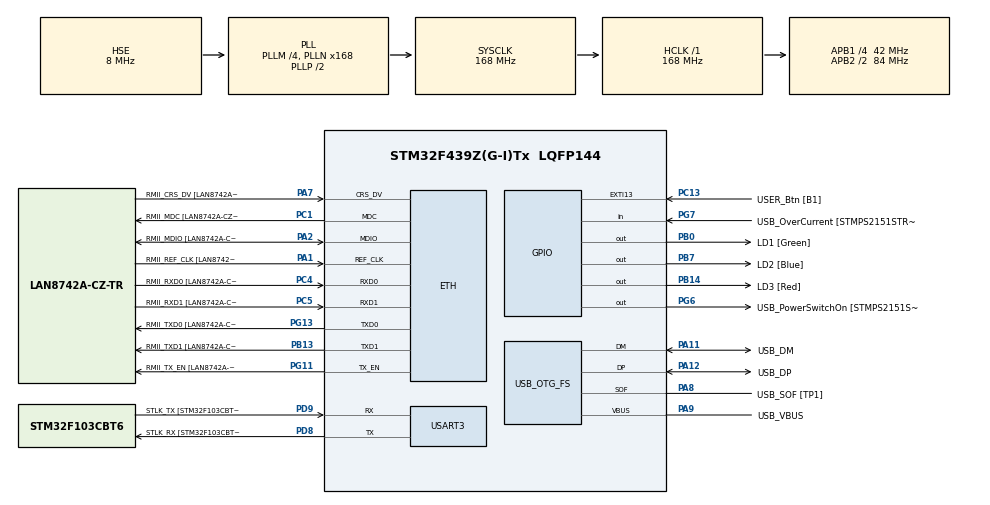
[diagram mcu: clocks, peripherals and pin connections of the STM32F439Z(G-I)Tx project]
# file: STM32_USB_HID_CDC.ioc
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ETH.MediaInterface=HAL_ETH_RMII_MODE
ETH.PHY_Name=LAN8742A_PHY_ADDRESS
ETH.PHY_Value=0
ETH.PhyAddress=0
Mcu.Family=STM32F4
Mcu.Name=STM32F439Z(G-I)Tx
Mcu.Package=LQFP144
NVIC.OTG_FS_IRQn=true\:0\:0\:false\:false\:true\:false\:true\:true
NVIC.PriorityGroup=NVIC_PRIORITYGROUP_4
PA1.GPIO_Label=RMII_REF_CLK [LAN8742A-CZ-TR_REFCLK0]
PA1.Mode=RMII
PA1.Signal=ETH_REF_CLK
PA10.GPIO_Label=USB_ID
PA10.Signal=USB_OTG_FS_ID
PA11.GPIO_Label=USB_DM
PA11.Mode=Device_Only
PA11.Signal=USB_OTG_FS_DM
PA12.GPIO_Label=USB_DP
PA12.Mode=Device_Only
PA12.Signal=USB_OTG_FS_DP
PA13.GPIO_Label=TMS
PA13.Mode=Serial_Wire
PA13.Signal=SYS_JTMS-SWDIO
PA14.GPIO_Label=TCK
PA14.Mode=Serial_Wire
PA14.Signal=SYS_JTCK-SWCLK
PA2.GPIO_Label=RMII_MDIO [LAN8742A-CZ-TR_MDIO]
PA2.Mode=RMII
PA2.Signal=ETH_MDIO
PA7.GPIO_Label=RMII_CRS_DV [LAN8742A-CZ-TR_CRS_DV]
PA7.Mode=RMII
PA7.Signal=ETH_CRS_DV
PA8.GPIO_Label=USB_SOF [TP1]
PA8.Mode=Activate_SOF_FS
PA8.Signal=USB_OTG_FS_SOF
PA9.GPIO_Label=USB_VBUS
PA9.Mode=Activate_VBUS
PA9.Signal=USB_OTG_FS_VBUS
PB0.GPIO_Label=LD1 [Green]
PB0.Signal=GPIO_Output
PB13.GPIO_Label=RMII_TXD1 [LAN8742A-CZ-TR_TXD1]
PB13.Mode=RMII
PB13.Signal=ETH_TXD1
PB14.GPIO_Label=LD3 [Red]
PB14.Signal=GPIO_Output
PB7.GPIO_Label=LD2 [Blue]
PB7.Signal=GPIO_Output
PC1.GPIO_Label=RMII_MDC [LAN8742A-CZ-TR_MDC]
PC1.Mode=RMII
PC1.Signal=ETH_MDC
PC13.GPIO_Label=USER_Btn [B1]
PC13.Signal=GPXTI13
PC14/OSC32_IN.Mode=LSE-External-Oscillator
PC14/OSC32_IN.Signal=RCC_OSC32_IN
PC15/OSC32_OUT.Mode=LSE-External-Oscillator
PC15/OSC32_OUT.Signal=RCC_OSC32_OUT
PC4.GPIO_Label=RMII_RXD0 [LAN8742A-CZ-TR_RXD0]
PC4.Mode=RMII
PC4.Signal=ETH_RXD0
PC5.GPIO_Label=RMII_RXD1 [LAN8742A-CZ-TR_RXD1]
PC5.Mode=RMII
PC5.Signal=ETH_RXD1
PD8.GPIO_Label=STLK_RX [STM32F103CBT6_PA3]
PD8.Mode=Asynchronous
PD8.Signal=USART3_TX
PD9.GPIO_Label=STLK_TX [STM32F103CBT6_PA2]
PD9.Mode=Asynchronous
PD9.Signal=USART3_RX
PG11.GPIO_Label=RMII_TX_EN [LAN8742A-CZ-TR_TXEN]
PG11.Mode=RMII
PG11.Signal=ETH_TX_EN
PG13.GPIO_Label=RMII_TXD0 [LAN8742A-CZ-TR_TXD0]
PG13.Mode=RMII
PG13.Signal=ETH_TXD0
PG6.GPIO_Label=USB_PowerSwitchOn [STMPS2151STR_EN]
PG6.Signal=GPIO_Output
PG7.GPIO_Label=USB_OverCurrent [STMPS2151STR_FAULT]
PG7.Signal=GPIO_Input
PH0/OSC_IN.GPIO_Label=MCO [STM32F103CBT6_PA8]
PH0/OSC_IN.Mode=HSE-External-Clock-Source
PH0/OSC_IN.Signal=RCC_OSC_IN
PH1/OSC_OUT.Mode=HSE-External-Clock-Source
PH1/OSC_OUT.Signal=RCC_OSC_OUT
ProjectManager.HeapSize=0x800
ProjectManager.StackSize=0x800
ProjectManager.TargetToolchain=STM32CubeIDE
RCC.48MHZClocksFreq_Value=48000000
RCC.AHBFreq_Value=168000000
RCC.APB1CLKDivider=RCC_HCLK_DIV4
RCC.APB1Freq_Value=42000000
RCC.APB1TimFreq_Value=84000000
RCC.APB2CLKDivider=RCC_HCLK_DIV2
RCC.APB2Freq_Value=84000000
RCC.APB2TimCLKDivider=2
RCC.APB2TimFreq_Value=168000000
RCC.CortexFreq_Value=168000000
RCC.HCLKFreq_Value=168000000
RCC.HSE_VALUE=8000000
RCC.HSI_VALUE=16000000
RCC.PLLM=4
RCC.PLLMUL=RCC_PLL_MUL9
RCC.PLLN=168
RCC.PLLQ=7
RCC.PRESCALERUSB=RCC_USBCLKSOURCE_PLL_DIV1_5
RCC.SYSCLKFreq_VALUE=168000000
RCC.SYSCLKSource=RCC_SYSCLKSOURCE_PLLCLK
RCC.SYSCLKSourceVirtual=RCC_SYSCLKSOURCE_PLLCLK
RCC.USBFreq_Value=48000000
RCC.VCOOutputFreq_Value=336000000
USART3.VirtualMode=VM_ASYNC
USB_DEVICE.CLASS_NAME_FS=CDC
USB_DEVICE.VirtualMode-CDC_FS=Cdc
USB_DEVICE.VirtualModeFS=Cdc_FS
USB_OTG_FS.VirtualMode=Device_Only
VP_USB_DEVICE_VS_USB_DEVICE_CDC_FS.Mode=CDC_FS
board=NUCLEO-F439ZI

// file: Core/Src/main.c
/* USER CODE BEGIN Header */
/**
  ******************************************************************************
  * @file           : main.c
  * @brief          : Main program body
  ******************************************************************************
  * @attention
  *
  * Copyright (c) 2026 STMicroelectronics.
  * All rights reserved.
  *
  * This software is licensed under terms that can be found in the LICENSE file
  * in the root directory of this software component.
  * If no LICENSE file comes with this software, it is provided AS-IS.
  *
  ******************************************************************************
  */
/* USER CODE END Header */
#include "main.h"
#include "string.h"
#include "stdio.h"
#include "usb_device.h"
#include "usbd_cdc_if.h"
#include "keyboard_helper.h"
#include "lcd_i2c.h"

ETH_TxPacketConfig TxConfig;
ETH_DMADescTypeDef  DMARxDscrTab[ETH_RX_DESC_CNT]; /* Ethernet Rx DMA Descriptors */
ETH_DMADescTypeDef  DMATxDscrTab[ETH_TX_DESC_CNT]; /* Ethernet Tx DMA Descriptors */

ETH_HandleTypeDef heth;

UART_HandleTypeDef huart3;

/* USER CODE BEGIN PV */
extern USBD_HandleTypeDef hUsbDeviceFS;
/* USER CODE END PV */

void SystemClock_Config(void);
static void MX_GPIO_Init(void);
static void MX_ETH_Init(void);
static void MX_USART3_UART_Init(void);

int main(void)
{

  /* MCU Configuration--------------------------------------------------------*/

  /* Reset of all peripherals, Initializes the Flash interface and the Systick. */
  HAL_Init();

  /* Configure the system clock */
  SystemClock_Config();

  /* Initialize all configured peripherals */
  MX_GPIO_Init();
  MX_ETH_Init();
  MX_USART3_UART_Init();
  MX_USB_DEVICE_Init();
  /* USER CODE BEGIN 2 */

  /* 1. I2C LCD Ekrani Baslat (PB8=SCL, PB9=SDA) */
  LCD_Init();
  LCD_SetCursor(0, 0);
  LCD_Print("STM32 RAM");
  LCD_SetCursor(1, 0);
  LCD_Print("USB Bekleniyor..");

  /* 2. USB baglantisi ve suruculerin Windows tarafindan taninmasi icin bekle */
  HAL_Delay(3000);

  /* 3. LED1 (Yesil) Yak: USB Hazir */
  HAL_GPIO_WritePin(LD1_GPIO_Port, LD1_Pin, GPIO_PIN_SET);

  /* 4. BadUSB / Keyboard Enjeksiyonu: Saf PowerShell Native RAM Servisini Baslat (Python Gerekmez) */
  LCD_SetCursor(1, 0);
  LCD_Print("PS Servis Acildi");
  Keyboard_LaunchNativeRAMMonitor();

  /* 5. LED2 (Mavi) Yak: Komut gonderildi */
  HAL_GPIO_WritePin(LD2_GPIO_Port, LD2_Pin, GPIO_PIN_SET);

  /* USER CODE END 2 */

  /* Infinite loop */
  while (1)
  {

    /* USER CODE BEGIN 3 */
    /* CDC Sanal Seri Porttan Yeni RAM Verisi Geldi mi? */
    if (g_NewRamDataFlag)
    {
      g_NewRamDataFlag = 0;

      /* Mavi LED'i yanip sondur (Veri alindi gostergesi) */
      HAL_GPIO_TogglePin(LD2_GPIO_Port, LD2_Pin);

      /* Gelen RAM ve CPU verisini LCD ekrana bas */
      LCD_DisplayRAM(g_ReceivedRamData);
    }

    HAL_Delay(10);
  }
  /* USER CODE END 3 */
}

void SystemClock_Config(void)
{
  RCC_OscInitTypeDef RCC_OscInitStruct = {0};
  RCC_ClkInitTypeDef RCC_ClkInitStruct = {0};

  /** Configure the main internal regulator output voltage
  */
  __HAL_RCC_PWR_CLK_ENABLE();
  __HAL_PWR_VOLTAGESCALING_CONFIG(PWR_REGULATOR_VOLTAGE_SCALE1);

  /** Initializes the RCC Oscillators according to the specified parameters
  * in the RCC_OscInitTypeDef structure.
  */
  RCC_OscInitStruct.OscillatorType = RCC_OSCILLATORTYPE_HSE;
  RCC_OscInitStruct.HSEState = RCC_HSE_BYPASS;
  RCC_OscInitStruct.PLL.PLLState = RCC_PLL_ON;
  RCC_OscInitStruct.PLL.PLLSource = RCC_PLLSOURCE_HSE;
  RCC_OscInitStruct.PLL.PLLM = 4;
  RCC_OscInitStruct.PLL.PLLN = 168;
  RCC_OscInitStruct.PLL.PLLP = RCC_PLLP_DIV2;
  RCC_OscInitStruct.PLL.PLLQ = 7;
  if (HAL_RCC_OscConfig(&RCC_OscInitStruct) != HAL_OK)
  {
    Error_Handler();
  }

  /** Initializes the CPU, AHB and APB buses clocks
  */
  RCC_ClkInitStruct.ClockType = RCC_CLOCKTYPE_HCLK|RCC_CLOCKTYPE_SYSCLK
                              |RCC_CLOCKTYPE_PCLK1|RCC_CLOCKTYPE_PCLK2;
  RCC_ClkInitStruct.SYSCLKSource = RCC_SYSCLKSOURCE_PLLCLK;
  RCC_ClkInitStruct.AHBCLKDivider = RCC_SYSCLK_DIV1;
  RCC_ClkInitStruct.APB1CLKDivider = RCC_HCLK_DIV4;
  RCC_ClkInitStruct.APB2CLKDivider = RCC_HCLK_DIV2;

  if (HAL_RCC_ClockConfig(&RCC_ClkInitStruct, FLASH_LATENCY_5) != HAL_OK)
  {
    Error_Handler();
  }
}

static void MX_ETH_Init(void)
{

   static uint8_t MACAddr[6];

  heth.Instance = ETH;
  MACAddr[0] = 0x00;
  MACAddr[1] = 0x80;
  MACAddr[2] = 0xE1;
  MACAddr[3] = 0x00;
  MACAddr[4] = 0x00;
  MACAddr[5] = 0x00;
  heth.Init.MACAddr = &MACAddr[0];
  heth.Init.MediaInterface = HAL_ETH_RMII_MODE;
  heth.Init.TxDesc = DMATxDscrTab;
  heth.Init.RxDesc = DMARxDscrTab;
  heth.Init.RxBuffLen = 1524;

  if (HAL_ETH_Init(&heth) != HAL_OK)
  {
    Error_Handler();
  }

  memset(&TxConfig, 0 , sizeof(ETH_TxPacketConfig));
  TxConfig.Attributes = ETH_TX_PACKETS_FEATURES_CSUM | ETH_TX_PACKETS_FEATURES_CRCPAD;
  TxConfig.ChecksumCtrl = ETH_CHECKSUM_IPHDR_PAYLOAD_INSERT_PHDR_CALC;
  TxConfig.CRCPadCtrl = ETH_CRC_PAD_INSERT;

}

static void MX_USART3_UART_Init(void)
{

  huart3.Instance = USART3;
  huart3.Init.BaudRate = 115200;
  huart3.Init.WordLength = UART_WORDLENGTH_8B;
  huart3.Init.StopBits = UART_STOPBITS_1;
  huart3.Init.Parity = UART_PARITY_NONE;
  huart3.Init.Mode = UART_MODE_TX_RX;
  huart3.Init.HwFlowCtl = UART_HWCONTROL_NONE;
  huart3.Init.OverSampling = UART_OVERSAMPLING_16;
  if (HAL_UART_Init(&huart3) != HAL_OK)
  {
    Error_Handler();
  }

}

static void MX_GPIO_Init(void)
{
  GPIO_InitTypeDef GPIO_InitStruct = {0};

  /* GPIO Ports Clock Enable */
  __HAL_RCC_GPIOC_CLK_ENABLE();
  __HAL_RCC_GPIOH_CLK_ENABLE();
  __HAL_RCC_GPIOA_CLK_ENABLE();
  __HAL_RCC_GPIOB_CLK_ENABLE();
  __HAL_RCC_GPIOD_CLK_ENABLE();
  __HAL_RCC_GPIOG_CLK_ENABLE();

  /*Configure GPIO pin Output Level */
  HAL_GPIO_WritePin(GPIOB, LD1_Pin|LD3_Pin|LD2_Pin, GPIO_PIN_RESET);

  /*Configure GPIO pin Output Level */
  HAL_GPIO_WritePin(USB_PowerSwitchOn_GPIO_Port, USB_PowerSwitchOn_Pin, GPIO_PIN_RESET);

  /*Configure GPIO pin : USER_Btn_Pin */
  GPIO_InitStruct.Pin = USER_Btn_Pin;
  GPIO_InitStruct.Mode = GPIO_MODE_IT_RISING;
  GPIO_InitStruct.Pull = GPIO_NOPULL;
  HAL_GPIO_Init(USER_Btn_GPIO_Port, &GPIO_InitStruct);

  /*Configure GPIO pins : LD1_Pin LD3_Pin LD2_Pin */
  GPIO_InitStruct.Pin = LD1_Pin|LD3_Pin|LD2_Pin;
  GPIO_InitStruct.Mode = GPIO_MODE_OUTPUT_PP;
  GPIO_InitStruct.Pull = GPIO_NOPULL;
  GPIO_InitStruct.Speed = GPIO_SPEED_FREQ_LOW;
  HAL_GPIO_Init(GPIOB, &GPIO_InitStruct);

  /*Configure GPIO pin : USB_PowerSwitchOn_Pin */
  GPIO_InitStruct.Pin = USB_PowerSwitchOn_Pin;
  GPIO_InitStruct.Mode = GPIO_MODE_OUTPUT_PP;
  GPIO_InitStruct.Pull = GPIO_NOPULL;
  GPIO_InitStruct.Speed = GPIO_SPEED_FREQ_LOW;
  HAL_GPIO_Init(USB_PowerSwitchOn_GPIO_Port, &GPIO_InitStruct);

  /*Configure GPIO pin : USB_OverCurrent_Pin */
  GPIO_InitStruct.Pin = USB_OverCurrent_Pin;
  GPIO_InitStruct.Mode = GPIO_MODE_INPUT;
  GPIO_InitStruct.Pull = GPIO_NOPULL;
  HAL_GPIO_Init(USB_OverCurrent_GPIO_Port, &GPIO_InitStruct);

}

void Error_Handler(void)
{
  __disable_irq();
  while (1)
  {
  }
}
